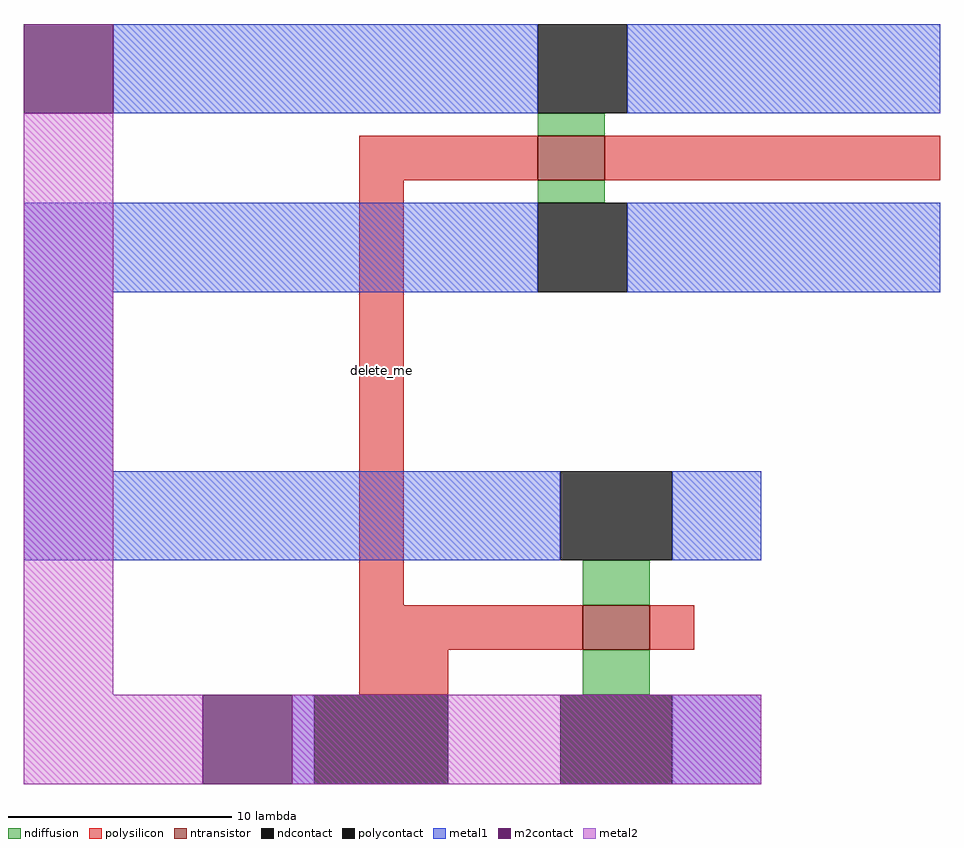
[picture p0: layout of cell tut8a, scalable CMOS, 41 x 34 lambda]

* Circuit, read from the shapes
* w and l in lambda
.subckt tut8a delete_me
M1 delete_me delete_me tut8c_0/B VSUBS nfet w=3 l=2
M2 tut8c_0/B delete_me tut8c_0/C VSUBS nfet w=3 l=2
.ends

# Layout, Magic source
magic
tech scmos
<< polysilicon >>
rect -3 -14 -1 7
<< metal1 >>
rect -14 8 -1 12
rect -18 0 -1 4
rect -18 -8 -14 0
<< metal2 >>
rect -18 -18 -14 8
<< m2contact >>
rect -18 8 -14 12
use tut8b tut8b_0
transform 1 0 5 0 1 0
box -6 0 18 12
use tut8c tut8c_0
transform 1 0 4 0 1 -14
box -22 -8 11 6
<< labels >>
rlabel polysilicon -3 -14 -1 7 3 delete_me
<< end >>

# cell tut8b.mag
magic
tech scmos
<< polysilicon >>
rect -6 5 0 7
rect 3 5 10 7
<< ndiffusion >>
rect 0 7 3 8
rect 0 4 3 5
<< metal1 >>
rect -6 8 0 12
rect 4 8 10 12
rect -6 0 0 4
rect 4 0 10 4
<< ndcontact >>
rect 0 8 4 12
rect 0 0 4 4
<< ntransistor >>
rect 0 5 3 7
use tut8d tut8d_0
transform 1 0 0 0 1 3
box 10 -3 18 9
<< labels >>
rlabel metal1 -6 0 -6 4 3 Out
rlabel metal1 -6 8 -6 12 3 In
rlabel polysilicon -6 5 -6 7 3 Gate
<< end >>

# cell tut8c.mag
magic
tech scmos
<< polysilicon >>
rect -7 -2 3 0
rect 6 -2 8 0
rect -7 -4 -3 -2
<< ndiffusion >>
rect 3 0 6 2
rect 3 -4 6 -2
<< metal1 >>
rect -22 2 2 6
rect 7 2 11 6
rect -10 -8 -9 -4
rect 7 -8 11 -4
<< metal2 >>
rect -22 -8 -14 -4
rect -10 -8 11 -4
<< polycontact >>
rect -9 -8 -3 -4
<< ndcontact >>
rect 2 2 7 6
rect 2 -8 7 -4
<< m2contact >>
rect -14 -8 -10 -4
<< ntransistor >>
rect 3 -2 6 0
<< labels >>
rlabel metal2 -22 -8 -22 -4 3 A
rlabel metal1 -22 2 -22 6 3 B
rlabel metal1 11 -8 11 -4 7 C
<< end >>

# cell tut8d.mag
magic
tech scmos
<< polysilicon >>
rect 10 2 18 4
<< metal1 >>
rect 10 5 18 9
rect 10 -3 18 1
<< end >>
